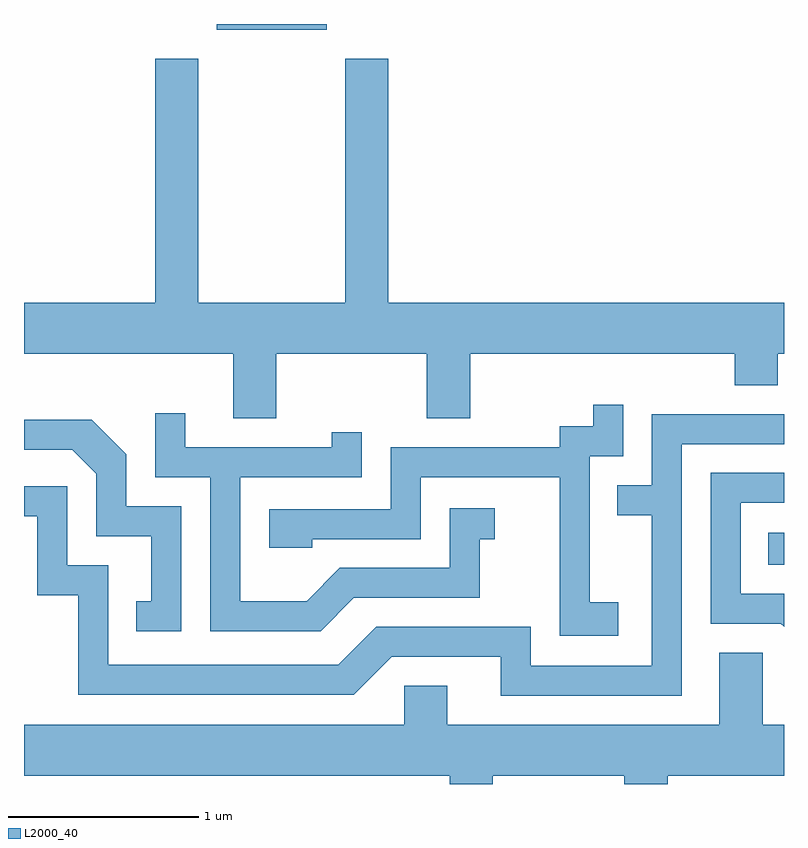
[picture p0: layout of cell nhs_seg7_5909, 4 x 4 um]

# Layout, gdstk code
import gdstk
lib = gdstk.Library(unit=1e-6, precision=1e-09)
def R(c, l, rs):  # rectangles x0, y0, x1, y1
    for r in rs: c.add(gdstk.rectangle(r[:2], r[2:], *l))
def P(c, l, *ps):  # polygons
    for p in ps: c.add(gdstk.Polygon(p, *l))
L2000_40 = (2000, 40)

nhs_seg7_5909 = lib.new_cell('nhs_seg7_5909')
R(nhs_seg7_5909, L2000_40, [(369.528,1735.406,369.611,1735.574), (366.626,1738.221,367.204,1738.252)])
P(nhs_seg7_5909, L2000_40, [(366.939,1736.516),(367.731,1736.516),(367.731,1736.176),(367.959,1736.176),(367.959,1736.516),(369.351,1736.516),(369.351,1736.351),(369.579,1736.351),(369.579,1736.516),(369.611,1736.516),(369.611,1736.784),(367.529,1736.784),(367.529,1738.069),(367.301,1738.069),(367.301,1736.784),(366.529,1736.784),(366.529,1738.069),(366.301,1738.069),(366.301,1736.784),(365.611,1736.784),(365.611,1736.516),(366.711,1736.516),(366.711,1736.176),(366.939,1736.176)],
  [(368.739,1735.209),(368.589,1735.209),(368.589,1735.976),(368.764,1735.976),(368.764,1736.248),(368.606,1736.248),(368.606,1736.134),(368.431,1736.134),(368.431,1736.024),(367.541,1736.024),(367.541,1735.699),(366.901,1735.699),(366.901,1735.496),(367.129,1735.496),(367.129,1735.541),(367.699,1735.541),(367.699,1735.866),(368.431,1735.866),(368.431,1735.031),(368.739,1735.031)],
  [(367.347,1735.231),(368.009,1735.231),(368.009,1735.541),(368.088,1735.541),(368.088,1735.704),(367.851,1735.704),(367.851,1735.389),(367.274,1735.389),(367.099,1735.214),(366.749,1735.214),(366.749,1735.866),(367.389,1735.866),(367.389,1736.103),(367.231,1736.103),(367.231,1736.024),(366.459,1736.024),(366.459,1736.203),(366.301,1736.203),(366.301,1735.866),(366.591,1735.866),(366.591,1735.056),(367.172,1735.056)],
  [(369.074,1736.041),(369.611,1736.041),(369.611,1736.199),(368.916,1736.199),(368.916,1735.824),(368.733,1735.824),(368.733,1735.666),(368.916,1735.666),(368.916,1734.874),(368.279,1734.874),(368.279,1735.079),(367.464,1735.079),(367.264,1734.879),(366.054,1734.879),(366.054,1735.404),(365.839,1735.404),(365.839,1735.819),(365.611,1735.819),(365.611,1735.661),(365.681,1735.661),(365.681,1735.246),(365.896,1735.246),(365.896,1734.721),(367.347,1734.721),(367.547,1734.921),(368.121,1734.921),(368.121,1734.716),(369.074,1734.716)],
  [(366.439,1735.714),(366.149,1735.714),(366.149,1735.987),(365.967,1736.169),(365.611,1736.169),(365.611,1736.011),(365.864,1736.011),(365.991,1735.884),(365.991,1735.556),(366.281,1735.556),(366.281,1735.214),(366.203,1735.214),(366.203,1735.056),(366.439,1735.056)],
  [(369.611,1735.254),(369.384,1735.254),(369.384,1735.731),(369.611,1735.731),(369.611,1735.889),(369.226,1735.889),(369.226,1735.096),(369.594,1735.096),(369.611,1735.079)],
  [(368.079,1734.296),(368.771,1734.296),(368.771,1734.252),(368.999,1734.252),(368.999,1734.296),(369.611,1734.296),(369.611,1734.564),(369.499,1734.564),(369.499,1734.944),(369.271,1734.944),(369.271,1734.564),(367.839,1734.564),(367.839,1734.769),(367.611,1734.769),(367.611,1734.564),(365.611,1734.564),(365.611,1734.296),(367.851,1734.296),(367.851,1734.252),(368.079,1734.252)])

lib.write_gds('nhs_seg7_5909.gds')
